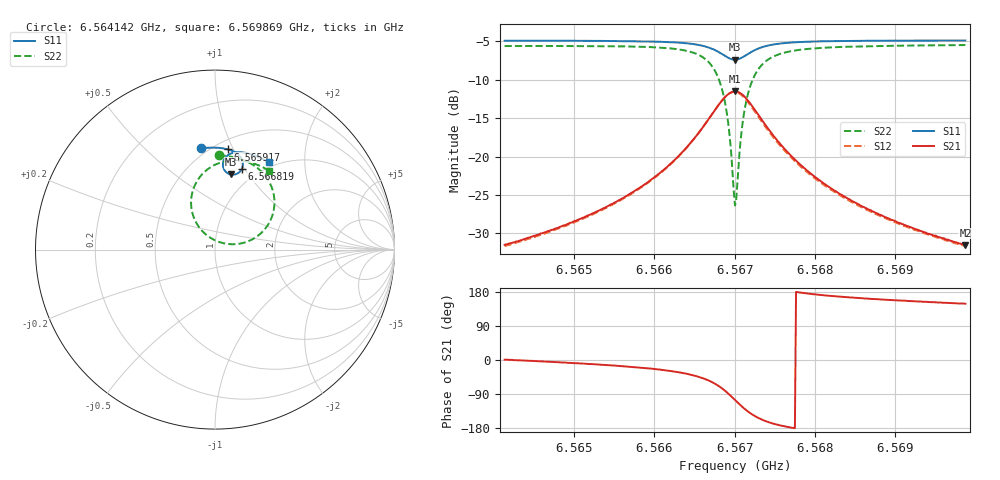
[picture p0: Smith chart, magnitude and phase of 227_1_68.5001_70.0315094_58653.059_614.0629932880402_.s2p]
#  HZ  S  RI  R  50.00
! Rohde & Schwarz Vector Network Analyzer
! Rohde-Schwarz,ZNB20-2Port,1311601062101988,3.16
! Created: UTC 3/20/2024, 4:58:47 PM
! freq[Hz]  re:S11  im:S11  re:S21  im:S21  re:S12  im:S12  re:S22  im:S22
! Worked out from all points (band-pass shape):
!   401 points, 6.564142 GHz to 6.569869 GHz, reference 50 ohm
!   highest |S21| = -11.50 dB at 6.567005 GHz (marker M1); lowest = -31.5 dB at 6.569869 GHz (marker M2)
!   |S21| within 3 dB of the highest: 6.566719 GHz to 6.567291 GHz (572.4 kHz wide, 0.00872 % of centre)
!   lowest |S11| = -7.4 dB at 6.567005 GHz (marker M3), VSWR 2.50, Z = 40.5 + j41.6 ohm
!   |S11| at or under -10 dB: nowhere
!   |S22| runs from -26.4 to -5.5 dB; largest |S21 - S12| = 0.012
!   S11 on the Smith chart (normalised r, x): 6.564142 GHz: 0.46, +0.76; 6.565917 GHz: 0.58, +0.95; 6.566819 GHz: 0.84, +0.97; 6.569869 GHz: 0.93, +1.34
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6.5641419e9  -0.0792 0.5637  0.0267 0.000334  0.0261 -6.83e-05  0.0198 0.525
6.5651012e9  -0.00147 0.568  0.0392 -0.00639  0.0386 -0.00692  0.1084 0.5142
6.5659172e9  0.0726 0.5582  0.063 -0.0253  0.0621 -0.026  0.2077 0.4746
6.5660604e9  0.0872 0.5536  0.07 -0.0327  0.069 -0.0336  0.2305 0.4593
6.566361e9  0.1207 0.5367  0.0894 -0.0613  0.0878 -0.0626  0.2863 0.4027
6.5665901e9  0.1467 0.5082  0.1035 -0.1104  0.1011 -0.1126  0.3272 0.3077
6.566719e9  0.1554 0.4797  0.0991 -0.1604  0.0951 -0.1633  0.3258 0.2125
6.5668192e9  0.15 0.4501  0.0725 -0.2114  0.0659 -0.2141  0.2798 0.1169
6.5669051e9  0.1292 0.4262  0.02 -0.2505  0.0101 -0.2512  0.1844 0.0462
6.5669337e9  0.1184 0.4208  -0.00409 -0.2581  -0.0146 -0.2574  0.1409 0.0335
6.566991e9  0.0939 0.4176  -0.0573 -0.2596  -0.0683 -0.255  0.046 0.0357
6.5670053e9  0.0877 0.4188  -0.0708 -0.2566  -0.0815 -0.251  0.0227 0.0424
6.5670339e9  0.0756 0.4229  -0.0963 -0.2466  -0.1062 -0.2393  -0.021 0.0629
6.5670912e9  0.0564 0.4379  -0.1378 -0.2142  -0.1446 -0.2045  -0.0885 0.1246
6.5671342e9  0.0478 0.453  -0.1577 -0.1843  -0.1621 -0.1738  -0.1183 0.1795
6.5671914e9  0.0438 0.4733  -0.1703 -0.1442  -0.1718 -0.134  -0.1331 0.2512
6.567263e9  0.0478 0.4952  -0.1701 -0.1011  -0.169 -0.0926  -0.1244 0.3257
6.5675207e9  0.087 0.5344  -0.1275 -0.0219  -0.1247 -0.0183  -0.0277 0.4569
6.5679645e9  0.1454 0.5426  -0.0758 0.00807  -0.0739 0.00923  0.0933 0.4973
6.5683797e9  0.1866 0.5353  -0.0527 0.0132  -0.0516 0.0139  0.1605 0.4938
6.5689238e9  0.2322 0.52  -0.0366 0.0146  -0.0358 0.0147  0.2227 0.4775
6.5698687e9  0.3007 0.4855  -0.0226 0.0139  -0.0221 0.014  0.3022 0.4389
